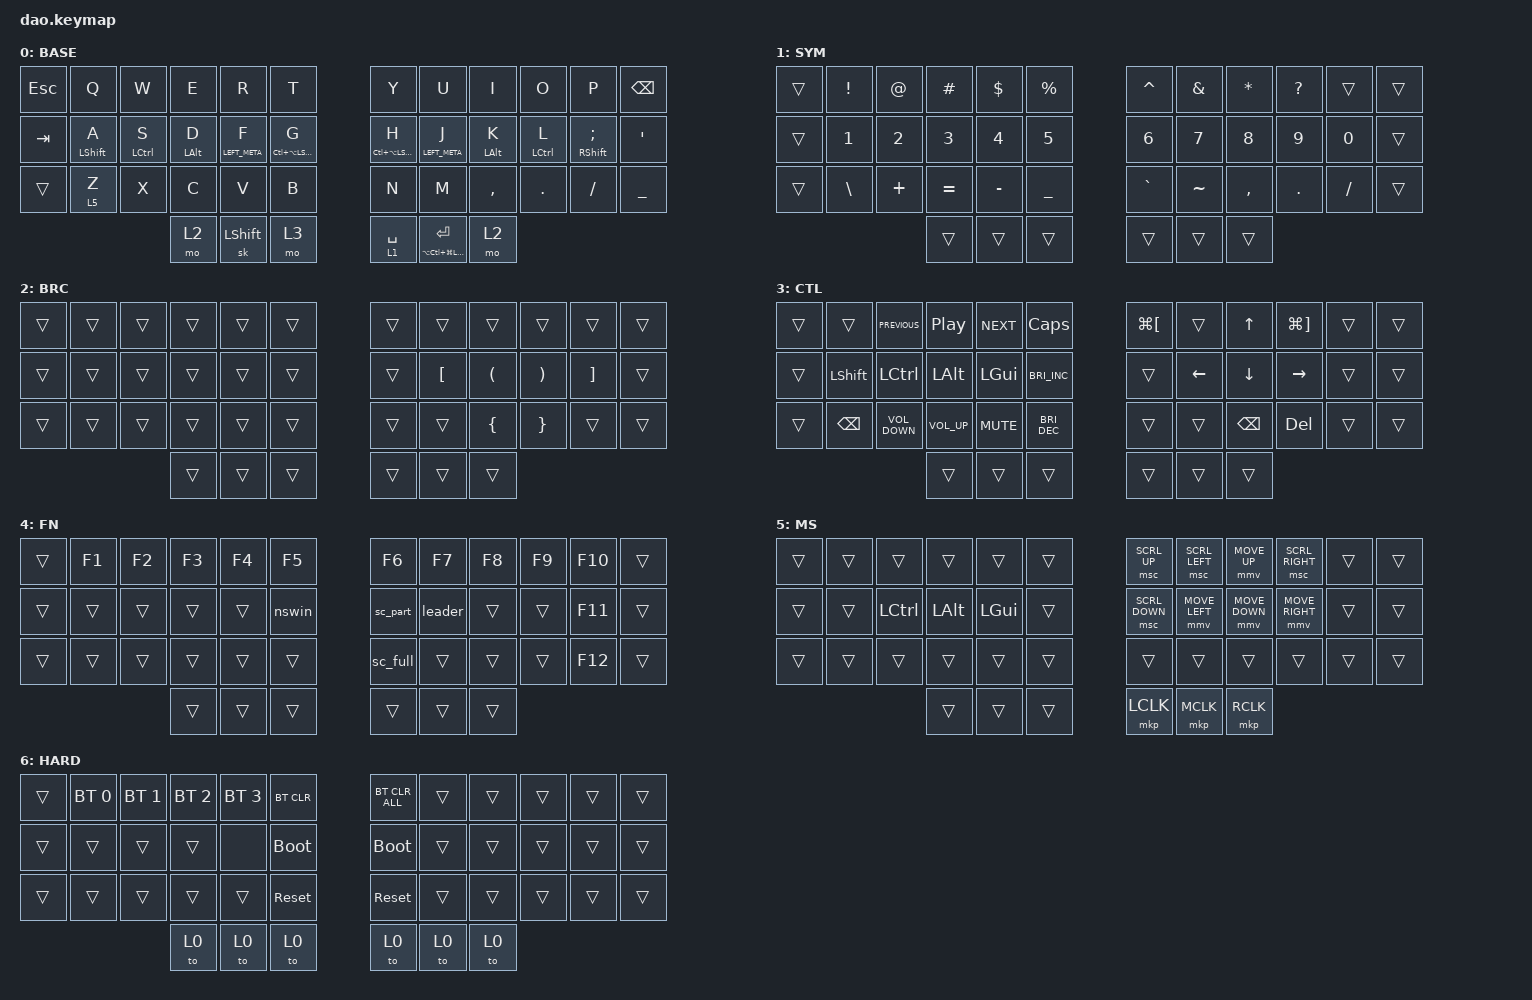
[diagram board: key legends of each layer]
/*
 * Copyright (c) 2021 Rafael Yumagulov
 *
 * SPDX-License-Identifier: MIT
 */

#define HOST_OS 2

// Increase mouse movement and scroll speeds

#define ZMK_POINTING_DEFAULT_MOVE_VAL 1800  // default: 600
#define ZMK_POINTING_DEFAULT_SCRL_VAL 25    // default: 10

#include "zmk-helpers/helper.h"
#include <dt-bindings/zmk/mouse.h>
#include <behaviors.dtsi>
#include <dt-bindings/zmk/bt.h>
#include <dt-bindings/zmk/keys.h>
#include <dt-bindings/zmk/pointing.h>

#define DEF 0
#define LWR 1
#define RSE 2
#define ADJ 3
#define MSE 4
#define HRD 5

&sk {
    release-after-ms = <220>;
    quick-release;
};

&caps_word { continue-list = <UNDERSCORE MINUS BACKSPACE DELETE SEMICOLON COLON SLASH COMMA EXCLAMATION QUESTION>; };

&mmv {
    time-to-max-speed-ms = <600>;
    acceleration-exponent = <1>;
};

&msc {
    time-to-max-speed-ms = <600>;
    acceleration-exponent = <0>;
};

&mt { tapping-term-ms = <150>; };

/ {
    chosen { zmk,physical_layout = &dao_crkbd_layout; };
};

/ {
    behaviors {
        hml: home_row_mod_left {
            compatible = "zmk,behavior-hold-tap";
            label = "HOME_ROW_MOD_LEFT";
            #binding-cells = <2>;
            flavor = "balanced";
            require-prior-idle-ms = <120>;
            tapping-term-ms = <280>;
            quick-tap-ms = <175>;
            bindings = <&kp>, <&kp>;

            hold-trigger-key-positions = <6 7 8 9 10 11 18 19 20 21 22 23 30 31 32 33 34 35 39 40 41>;
            hold-trigger-on-release;
        };

        hmr: home_row_mod_right {
            compatible = "zmk,behavior-hold-tap";
            label = "HOME_ROW_MOD_RIGHT";
            #binding-cells = <2>;
            flavor = "balanced";
            require-prior-idle-ms = <120>;
            tapping-term-ms = <280>;
            quick-tap-ms = <175>;
            bindings = <&kp>, <&kp>;

            hold-trigger-key-positions = <0 1 2 3 4 5 12 13 14 15 16 17 24 25 26 27 28 29 36 37 38>;
            hold-trigger-on-release;
        };

        sc_part: sc_part {
            compatible = "zmk,behavior-tap-dance";
            label = "SC_PART";
            #binding-cells = <0>;
            bindings = <&kp LS(LG(NUMBER_4))>, <&kp LS(LG(NUMBER_5))>;
        };

        sc_full: sc_full {
            compatible = "zmk,behavior-tap-dance";
            label = "SC_FULL";
            #binding-cells = <0>;
            bindings = <&kp LS(LG(NUMBER_1))>, <&kp LS(LA(LG(NUMBER_3)))>;
        };

        nswin: nswin {
            compatible = "zmk,behavior-tap-dance";
            label = "NEW_SAFARI_WIN";
            #binding-cells = <0>;
            bindings = <&kp LG(LA(LS(N0)))>, <&kp LG(LA(LS(NUMBER_1)))>;
        };

        spc_ctl: spc_ctl {
            compatible = "zmk,behavior-hold-tap";
            label = "SPC_CTL";
            bindings = <&mo>, <&kp>;

            #binding-cells = <2>;
            tapping-term-ms = <200>;
            flavor = "balanced";
            quick-tap-ms = <200>;
        };

        sft_mcw: sft_mcw {
            compatible = "zmk,behavior-mod-morph";
            label = "SFT_MCW";
            bindings = <&sk LEFT_SHIFT>, <&caps_word>;

            #binding-cells = <0>;
            mods = <(MOD_LGUI)>;
        };

        pu_home: pu_home {
            compatible = "zmk,behavior-mod-morph";
            label = "PU_HOME";
            bindings = <&kp PAGE_UP>, <&kp HOME>;

            #binding-cells = <0>;
            mods = <(MOD_LGUI)>;
        };

        pd_end: pd_end {
            compatible = "zmk,behavior-mod-morph";
            label = "PD_END";
            bindings = <&kp PAGE_DOWN>, <&kp END>;

            #binding-cells = <0>;
            mods = <(MOD_LGUI)>;
        };

        leader: leader {
            compatible = "zmk,behavior-leader-key";
            #binding-cells = <0>;

            hf {
                sequence = <H F>;
                bindings = <&kp LG(LS(PERIOD))>;
            };

            dota {
                sequence = <D O T A>;
                bindings = <&to 5>;
            };

            hard {
                sequence = <H A R D>;
                bindings = <&to 7>;
            };
        };
    };

    combos {
        compatible = "zmk,combos";

        combo_input_src {
            bindings = <&kp LC(LA(SPACE))>;
            key-positions = <21 19>;
            timeout-ms = <40>;
            require-prior-idle-ms = <150>;
        };

        copy {
            bindings = <&kp LG(C)>;
            key-positions = <26 27>;
            timeout-ms = <20>;
            require-prior-idle-ms = <150>;
        };

        paste {
            bindings = <&kp LG(V)>;
            key-positions = <27 28>;
            timeout-ms = <20>;
            require-prior-idle-ms = <150>;
        };

        paste_history {
            bindings = <&kp LG(LA(V))>;
            key-positions = <4 3>;
            timeout-ms = <20>;
            require-prior-idle-ms = <200>;
        };

        cut {
            bindings = <&kp LG(X)>;
            key-positions = <26 28>;
            timeout-ms = <20>;
            require-prior-idle-ms = <150>;
        };

        combo_hardware {
            bindings = <&to 6>;
            key-positions = <2 3 8 9>;
        };
    };

    macros {
        log_hrd_lyr: log_hrd_lyr {
            compatible = "zmk,behavior-macro";
            #binding-cells = <0>;
            bindings = <&none &kp LS(H) &kp LS(A) &kp LS(R) &kp LS(D) &kp LS(W) &kp LS(A) &kp LS(R) &kp LS(E) &kp SPACE &kp LS(L) &kp LS(A) &kp LS(Y) &kp LS(E) &kp LS(R)>;
            label = "LOG_HRD_LYR";
        };
    };

    keymap {
        compatible = "zmk,keymap";

        base {
            display-name = "BASE";
            bindings = <
&kp ESCAPE  &kp Q              &kp W                &kp E            &kp R             &kp T                      &kp Y                      &kp U                              &kp I            &kp O                &kp P                       &kp BACKSPACE
&kp TAB     &hml LEFT_SHIFT A  &hml LEFT_CONTROL S  &hml LEFT_ALT D  &hml LEFT_META F  &hml LC(LA(LEFT_SHIFT)) G  &hmr LC(LA(LEFT_SHIFT)) H  &hmr LEFT_META J                   &hmr LEFT_ALT K  &hmr LEFT_CONTROL L  &hmr RIGHT_SHIFT SEMICOLON  &kp APOSTROPHE
&trans      &lt 5 Z            &kp X                &kp C            &kp V             &kp B                      &kp N                      &kp M                              &kp COMMA        &kp PERIOD           &kp SLASH                   &kp UNDER
                                                    &mo 2            &sk LEFT_SHIFT    &mo 3                      &spc_ctl 1 SPACE           &mt LA(LC(LG(LEFT_SHIFT))) RETURN  &mo 2
            >;
        };

        symbols {
            bindings = <
&trans  &kp EXCLAMATION  &kp AT    &kp HASH   &kp DOLLAR  &kp PERCENT  &kp CARET  &kp AMPERSAND  &kp ASTERISK  &kp QUESTION  &trans    &trans
&trans  &kp N1           &kp N2    &kp N3     &kp N4      &kp N5       &kp N6     &kp N7         &kp N8        &kp N9        &kp N0    &trans
&trans  &kp BACKSLASH    &kp PLUS  &kp EQUAL  &kp MINUS   &kp UNDER    &kp GRAVE  &kp TILDE      &kp COMMA     &kp DOT       &kp FSLH  &trans
                                   &trans     &trans      &trans       &trans     &trans         &trans
            >;

            label = "SYM";
        };

        braces {
            label = "BRC";
            bindings = <
&trans  &trans  &trans  &trans  &trans  &trans  &trans  &trans    &trans                &trans                 &trans    &trans
&trans  &trans  &trans  &trans  &trans  &trans  &trans  &kp LBKT  &kp LEFT_PARENTHESIS  &kp RIGHT_PARENTHESIS  &kp RBKT  &trans
&trans  &trans  &trans  &trans  &trans  &trans  &trans  &trans    &kp LEFT_BRACE        &kp RIGHT_BRACE        &trans    &trans
                        &trans  &trans  &trans  &trans  &trans    &trans
            >;
        };

        controls {
            display-name = "CTL";
            bindings = <
&trans  &trans         &kp C_PREVIOUS     &kp C_PP         &kp C_NEXT  &kp CAPSLOCK          &kp LG(LEFT_BRACKET)  &trans    &kp UP_ARROW   &kp LG(RIGHT_BRACKET)  &trans  &trans
&trans  &kp LSHFT      &kp LCTRL          &kp LALT         &kp LGUI    &kp C_BRIGHTNESS_INC  &trans                &kp LEFT  &kp DOWN       &kp RIGHT              &trans  &trans
&trans  &kp BACKSPACE  &kp C_VOLUME_DOWN  &kp C_VOLUME_UP  &kp K_MUTE  &kp C_BRIGHTNESS_DEC  &trans                &trans    &kp BACKSPACE  &kp DELETE             &trans  &trans
                                          &trans           &trans      &trans                &trans                &trans    &trans
            >;
        };

        function {
            bindings = <
&trans  &kp F1  &kp F2  &kp F3  &kp F4  &kp F5  &kp F6    &kp F7   &kp F8  &kp F9  &kp F10  &trans
&trans  &trans  &trans  &trans  &trans  &nswin  &sc_part  &leader  &trans  &trans  &kp F11  &trans
&trans  &trans  &trans  &trans  &trans  &trans  &sc_full  &trans   &trans  &trans  &kp F12  &trans
                        &trans  &trans  &trans  &trans    &trans   &trans
            >;

            label = "FN";
        };

        mouse {
            display-name = "MS";
            bindings = <
&trans  &trans  &trans     &trans    &trans    &trans  &msc SCRL_UP    &msc SCRL_LEFT  &mmv MOVE_UP    &msc SCRL_RIGHT  &trans  &trans
&trans  &trans  &kp LCTRL  &kp LALT  &kp LGUI  &trans  &msc SCRL_DOWN  &mmv MOVE_LEFT  &mmv MOVE_DOWN  &mmv MOVE_RIGHT  &trans  &trans
&trans  &trans  &trans     &trans    &trans    &trans  &trans          &trans          &trans          &trans           &trans  &trans
                           &trans    &trans    &trans  &mkp LCLK       &mkp MCLK       &mkp RCLK
            >;
        };

        hardware {
            display-name = "HARD";
            bindings = <
&trans  &bt BT_SEL 0  &bt BT_SEL 1  &bt BT_SEL 2  &bt BT_SEL 3  &bt BT_CLR   &bt BT_CLR_ALL  &trans  &trans  &trans  &trans  &trans
&trans  &trans        &trans        &trans        &none         &bootloader  &bootloader     &trans  &trans  &trans  &trans  &trans
&trans  &trans        &trans        &trans        &trans        &sys_reset   &sys_reset      &trans  &trans  &trans  &trans  &trans
                                    &to 0         &to 0         &to 0        &to 0           &to 0   &to 0
            >;
        };
    };

    conditional_layers {
        compatible = "zmk,conditional-layers";

        function_layer {
            if-layers = <3 1>;
            then-layer = <4>;
        };
    };
};

/*
 *    0   1   2   3   4   5     6   7   8   9  10  11
 *   12  13  14  15  16  17    18  19  20  21  22  23
 *   24  25  26  27  28  29    30  31  32  33  34  35
 *               36  37  38    39  40  41
 */
